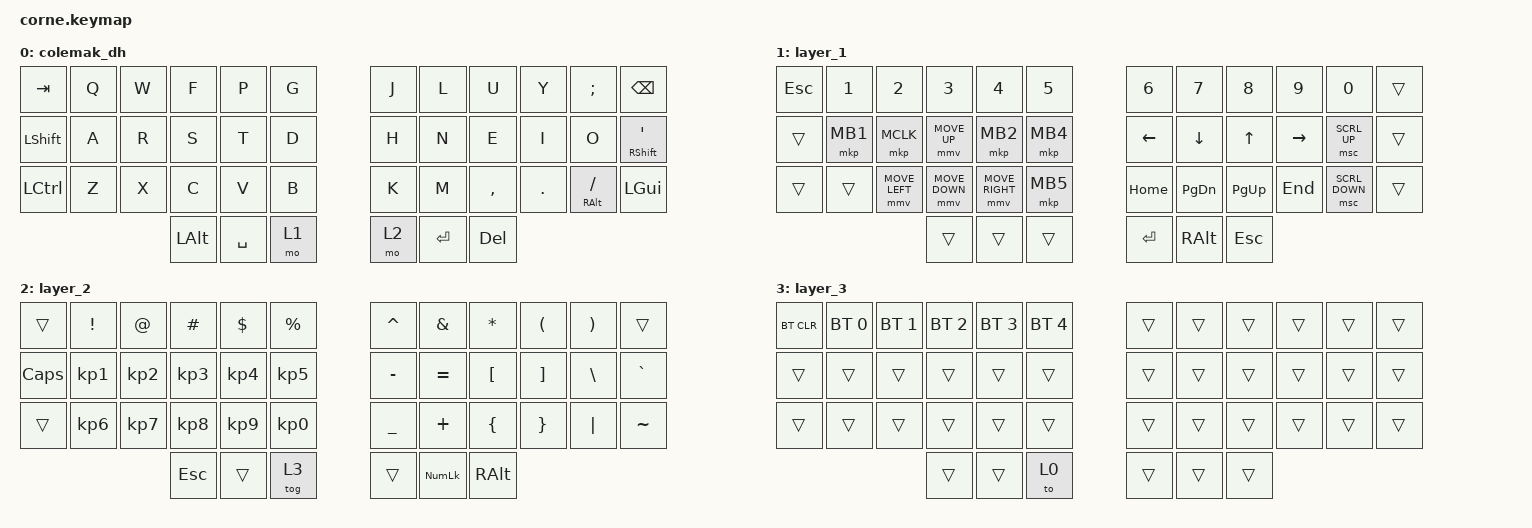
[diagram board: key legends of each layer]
#include <behaviors.dtsi>
#include <dt-bindings/zmk/bt.h>
#include <dt-bindings/zmk/keys.h>
#include <dt-bindings/zmk/pointing.h>

/ {
    keymap {
        compatible = "zmk,keymap";
        colemak_dh {
            bindings = <
&kp TAB    &kp Q  &kp W  &kp F         &kp P      &kp G    &kp J  &kp L    &kp U      &kp Y    &kp SEMICOLON       &kp BSPC
&kp LSHFT  &kp A  &kp R  &kp S         &kp T      &kp D    &kp H  &kp N    &kp E      &kp I    &kp O               &mt RSHFT SQT
&kp LCTRL  &kp Z  &kp X  &kp C         &kp V      &kp B    &kp K  &kp M    &kp COMMA  &kp DOT  &mt RIGHT_ALT FSLH  &kp LGUI
                         &kp LEFT_ALT  &kp SPACE  &mo 1    &mo 2  &kp RET  &kp DEL
            >;
        };
        layer_1 {
            bindings = <
&kp ESCAPE  &kp N1    &kp N2          &kp N3          &kp N4           &kp N5      &kp N6    &kp N7     &kp N8     &kp N9     &kp N0          &trans
&trans      &mkp MB1  &mkp MCLK       &mmv MOVE_UP    &mkp MB2         &mkp MB4    &kp LEFT  &kp DOWN   &kp UP     &kp RIGHT  &msc SCRL_UP    &trans
&trans      &trans    &mmv MOVE_LEFT  &mmv MOVE_DOWN  &mmv MOVE_RIGHT  &mkp MB5    &kp HOME  &kp PG_DN  &kp PG_UP  &kp END    &msc SCRL_DOWN  &trans
                                      &trans          &trans           &trans      &kp RET   &kp RALT   &kp ESC
            >;
        };
        layer_2 {
            bindings = <
&trans        &kp EXCL         &kp AT           &kp HASH         &kp DLLR         &kp PRCNT          &kp CARET  &kp AMPS        &kp ASTRK  &kp LPAR  &kp RPAR  &trans
&kp CAPSLOCK  &kp KP_NUMBER_1  &kp KP_NUMBER_2  &kp KP_NUMBER_3  &kp KP_NUMBER_4  &kp KP_NUMBER_5    &kp MINUS  &kp EQUAL       &kp LBKT   &kp RBKT  &kp BSLH  &kp GRAVE
&trans        &kp KP_NUMBER_6  &kp KP_NUMBER_7  &kp KP_NUMBER_8  &kp KP_NUMBER_9  &kp KP_NUMBER_0    &kp UNDER  &kp PLUS        &kp LBRC   &kp RBRC  &kp PIPE  &kp TILDE
                                                &kp ESC          &trans           &tog 3             &trans     &kp KP_NUMLOCK  &kp RALT
            >;
        };
        layer_3 {
            bindings = <
&bt BT_CLR  &bt BT_SEL 0  &bt BT_SEL 1  &bt BT_SEL 2  &bt BT_SEL 3  &bt BT_SEL 4    &trans  &trans  &trans  &trans  &trans  &trans
&trans      &trans        &trans        &trans        &trans        &trans          &trans  &trans  &trans  &trans  &trans  &trans
&trans      &trans        &trans        &trans        &trans        &trans          &trans  &trans  &trans  &trans  &trans  &trans
                                        &trans        &trans        &to 0           &trans  &trans  &trans
            >;
        };
    };
};

